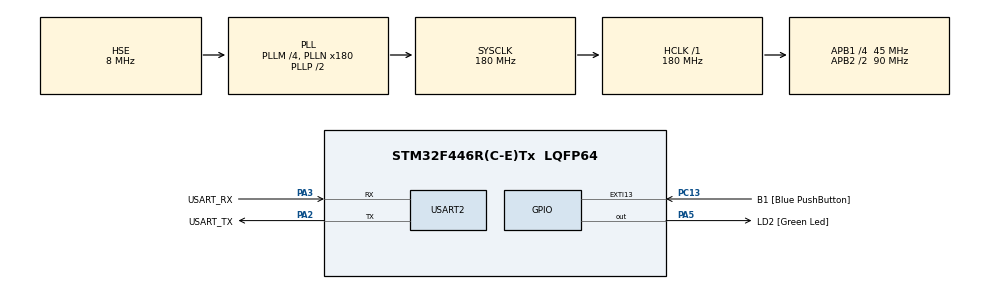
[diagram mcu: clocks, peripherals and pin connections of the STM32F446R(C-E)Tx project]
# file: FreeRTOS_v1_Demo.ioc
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Dma.Request0=USART2_TX
Dma.Request1=USART2_RX
Dma.USART2_RX.1.Direction=DMA_PERIPH_TO_MEMORY
Dma.USART2_RX.1.FIFOMode=DMA_FIFOMODE_DISABLE
Dma.USART2_RX.1.Instance=DMA1_Stream5
Dma.USART2_RX.1.MemDataAlignment=DMA_MDATAALIGN_BYTE
Dma.USART2_RX.1.MemInc=DMA_MINC_ENABLE
Dma.USART2_RX.1.Mode=DMA_NORMAL
Dma.USART2_RX.1.PeriphDataAlignment=DMA_PDATAALIGN_BYTE
Dma.USART2_RX.1.PeriphInc=DMA_PINC_DISABLE
Dma.USART2_RX.1.Priority=DMA_PRIORITY_LOW
Dma.USART2_TX.0.Direction=DMA_MEMORY_TO_PERIPH
Dma.USART2_TX.0.FIFOMode=DMA_FIFOMODE_DISABLE
Dma.USART2_TX.0.Instance=DMA1_Stream6
Dma.USART2_TX.0.MemDataAlignment=DMA_MDATAALIGN_BYTE
Dma.USART2_TX.0.MemInc=DMA_MINC_ENABLE
Dma.USART2_TX.0.Mode=DMA_NORMAL
Dma.USART2_TX.0.PeriphDataAlignment=DMA_PDATAALIGN_BYTE
Dma.USART2_TX.0.PeriphInc=DMA_PINC_DISABLE
Dma.USART2_TX.0.Priority=DMA_PRIORITY_LOW
FREERTOS.Tasks01=defaultTask,0,128,StartDefaultTask,Default,NULL,Dynamic,NULL,NULL
FREERTOS.configUSE_NEWLIB_REENTRANT=0
Mcu.Family=STM32F4
Mcu.Name=STM32F446R(C-E)Tx
Mcu.Package=LQFP64
NVIC.DMA1_Stream5_IRQn=true\:5\:0\:false\:false\:true\:true\:false\:true\:true
NVIC.DMA1_Stream6_IRQn=true\:5\:0\:false\:false\:true\:true\:false\:true\:true
NVIC.EXTI15_10_IRQn=true\:5\:0\:false\:false\:true\:true\:true\:true\:true
NVIC.PriorityGroup=NVIC_PRIORITYGROUP_4
NVIC.TIM7_IRQn=true\:15\:0\:false\:false\:true\:false\:false\:true\:true
NVIC.TimeBase=TIM7_IRQn
NVIC.TimeBaseIP=TIM7
NVIC.USART2_IRQn=true\:5\:0\:false\:false\:true\:true\:true\:true\:true
PA13.GPIO_Label=TMS
PA13.Mode=Serial_Wire
PA13.Signal=SYS_JTMS-SWDIO
PA14.GPIO_Label=TCK
PA14.Mode=Serial_Wire
PA14.Signal=SYS_JTCK-SWCLK
PA2.GPIO_Label=USART_TX
PA2.Mode=Asynchronous
PA2.Signal=USART2_TX
PA3.GPIO_Label=USART_RX
PA3.Mode=Asynchronous
PA3.Signal=USART2_RX
PA5.GPIO_Label=LD2 [Green Led]
PA5.Signal=GPIO_Output
PB3.GPIO_Label=SWO
PB3.Signal=SYS_JTDO-SWO
PC13.GPIO_Label=B1 [Blue PushButton]
PC13.GPIO_ModeDefaultEXTI=GPIO_MODE_IT_FALLING
PC13.Signal=GPXTI13
PC14-OSC32_IN.Signal=RCC_OSC32_IN
PC15-OSC32_OUT.Signal=RCC_OSC32_OUT
PH0-OSC_IN.Mode=HSE-External-Oscillator
PH0-OSC_IN.Signal=RCC_OSC_IN
PH1-OSC_OUT.Mode=HSE-External-Oscillator
PH1-OSC_OUT.Signal=RCC_OSC_OUT
ProjectManager.HeapSize=0x200
ProjectManager.StackSize=0x400
ProjectManager.TargetToolchain=STM32CubeIDE
RCC.AHBFreq_Value=180000000
RCC.APB1CLKDivider=RCC_HCLK_DIV4
RCC.APB1Freq_Value=45000000
RCC.APB1TimFreq_Value=90000000
RCC.APB2CLKDivider=RCC_HCLK_DIV2
RCC.APB2Freq_Value=90000000
RCC.APB2TimFreq_Value=180000000
RCC.CortexFreq_Value=180000000
RCC.FLatency-AdvancedSettings=FLASH_LATENCY_5
RCC.HCLKFreq_Value=180000000
RCC.HSE_VALUE=8000000
RCC.HSI_VALUE=16000000
RCC.LSE_VALUE=32768
RCC.PLLM=4
RCC.PLLN=180
RCC.PLLSourceVirtual=RCC_PLLSOURCE_HSE
RCC.SYSCLKFreq_VALUE=180000000
RCC.SYSCLKSource=RCC_SYSCLKSOURCE_PLLCLK
RCC.USBFreq_Value=180000000
RCC.VCOOutputFreq_Value=360000000
USART2.VirtualMode=VM_ASYNC
VP_FREERTOS_VS_CMSIS_V1.Mode=CMSIS_V1
VP_SYS_VS_tim7.Mode=TIM7
board=NUCLEO-F446RE

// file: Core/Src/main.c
/* USER CODE BEGIN Header */
/**
  ******************************************************************************
  * @file           : main.c
  * @brief          : Main program body
  ******************************************************************************
  * @attention
  *
  * Copyright (c) 2025 STMicroelectronics.
  * All rights reserved.
  *
  * This software is licensed under terms that can be found in the LICENSE file
  * in the root directory of this software component.
  * If no LICENSE file comes with this software, it is provided AS-IS.
  *
  ******************************************************************************
  */
/* USER CODE END Header */
#include "main.h"
#include "cmsis_os.h"

/* USER CODE BEGIN Includes */
#include "uart_driver.h"
#include <string.h>
#include "sample_commands.h"
#include "command_module.h"
#include "logging.h"

/* USER CODE END Includes */

UART_HandleTypeDef huart2;
DMA_HandleTypeDef hdma_usart2_tx;
DMA_HandleTypeDef hdma_usart2_rx;

osThreadId defaultTaskHandle;
/* USER CODE BEGIN PV */
static uart_drv_t uart2_drv;  // UART driver instance for USART2
// Shared pointer used by sample_commands.c (declared extern in its header)
uart_drv_t *shared_uart = NULL;        // UART driver instance for USART2
static SemaphoreHandle_t rx_done_sem;
static void uart_evt_cb(uart_event_t evt, void *user_ctx);
static void log_test_task(void *pv);
static void telemetry_test_task(void *pv);

/* USER CODE END PV */

void SystemClock_Config(void);
static void MX_GPIO_Init(void);
static void MX_DMA_Init(void);
static void MX_USART2_UART_Init(void);
void StartDefaultTask(void const * argument);

/* USER CODE BEGIN 0 */
static void uart_sender_task(void *pv);
static void uart_receiver_task(void *pv);
static void uart_echo_task(void *pv);

/* USER CODE END 0 */

int main(void)
{

  /* MCU Configuration--------------------------------------------------------*/

  /* Reset of all peripherals, Initializes the Flash interface and the Systick. */
  HAL_Init();

  /* Configure the system clock */
  SystemClock_Config();

  /* Initialize all configured peripherals */
  MX_GPIO_Init();
  MX_DMA_Init();
  MX_USART2_UART_Init();

  /* USER CODE BEGIN RTOS_SEMAPHORES */
  /* add semaphores, ... */
  rx_done_sem = xSemaphoreCreateBinary();

  // Initialize the UART driver
  if (uart_init(&uart2_drv, &huart2, &hdma_usart2_tx, &hdma_usart2_rx) != UART_OK) {
      Error_Handler();
  }

  // Assign shared_uart so command handlers can use the UART driver
  shared_uart = &uart2_drv;

  // Initialize the command interpreter
  // This registers the UART callback, creates the RTOS queue & task
  cmd_init(&uart2_drv);

  log_init(&uart2_drv);

  /* USER CODE END RTOS_SEMAPHORES */

  /* Create the thread(s) */
  /* definition and creation of defaultTask */
//  osThreadDef(defaultTask, StartDefaultTask, osPriorityNormal, 0, 128);
//  defaultTaskHandle = osThreadCreate(osThread(defaultTask), NULL);

  /* USER CODE BEGIN RTOS_THREADS */
  /* add threads, ... */
//  xTaskCreate(uart_sender_task,  "UART_SND",  256, NULL, tskIDLE_PRIORITY+1, NULL);
//  xTaskCreate(uart_receiver_task,"UART_RCV",  256, NULL, tskIDLE_PRIORITY+1, NULL);
  xTaskCreate(uart_echo_task, "UART_ECHO", 256, NULL, tskIDLE_PRIORITY+1, NULL);

  xTaskCreate(log_test_task, "LogTest", 256, NULL, tskIDLE_PRIORITY+1, NULL);

  xTaskCreate(telemetry_test_task, "TlmTest", 256, NULL, tskIDLE_PRIORITY + 1, NULL);

  log_write(LOG_LEVEL_INFO, "System initialized.");

  /* USER CODE END RTOS_THREADS */

  /* Start scheduler */
//  osKernelStart();
  vTaskStartScheduler();

  /* We should never get here as control is now taken by the scheduler */

  /* Infinite loop */
  while (1)
  {

  }
}

void SystemClock_Config(void)
{
  RCC_OscInitTypeDef RCC_OscInitStruct = {0};
  RCC_ClkInitTypeDef RCC_ClkInitStruct = {0};

  /** Configure the main internal regulator output voltage
  */
  __HAL_RCC_PWR_CLK_ENABLE();
  __HAL_PWR_VOLTAGESCALING_CONFIG(PWR_REGULATOR_VOLTAGE_SCALE1);

  /** Initializes the RCC Oscillators according to the specified parameters
  * in the RCC_OscInitTypeDef structure.
  */
  RCC_OscInitStruct.OscillatorType = RCC_OSCILLATORTYPE_HSE;
  RCC_OscInitStruct.HSEState = RCC_HSE_ON;
  RCC_OscInitStruct.PLL.PLLState = RCC_PLL_ON;
  RCC_OscInitStruct.PLL.PLLSource = RCC_PLLSOURCE_HSE;
  RCC_OscInitStruct.PLL.PLLM = 4;
  RCC_OscInitStruct.PLL.PLLN = 180;
  RCC_OscInitStruct.PLL.PLLP = RCC_PLLP_DIV2;
  RCC_OscInitStruct.PLL.PLLQ = 2;
  RCC_OscInitStruct.PLL.PLLR = 2;
  if (HAL_RCC_OscConfig(&RCC_OscInitStruct) != HAL_OK)
  {
    Error_Handler();
  }

  /** Activate the Over-Drive mode
  */
  if (HAL_PWREx_EnableOverDrive() != HAL_OK)
  {
    Error_Handler();
  }

  /** Initializes the CPU, AHB and APB buses clocks
  */
  RCC_ClkInitStruct.ClockType = RCC_CLOCKTYPE_HCLK|RCC_CLOCKTYPE_SYSCLK
                              |RCC_CLOCKTYPE_PCLK1|RCC_CLOCKTYPE_PCLK2;
  RCC_ClkInitStruct.SYSCLKSource = RCC_SYSCLKSOURCE_PLLCLK;
  RCC_ClkInitStruct.AHBCLKDivider = RCC_SYSCLK_DIV1;
  RCC_ClkInitStruct.APB1CLKDivider = RCC_HCLK_DIV4;
  RCC_ClkInitStruct.APB2CLKDivider = RCC_HCLK_DIV2;

  if (HAL_RCC_ClockConfig(&RCC_ClkInitStruct, FLASH_LATENCY_5) != HAL_OK)
  {
    Error_Handler();
  }
}

static void MX_USART2_UART_Init(void)
{

  huart2.Instance = USART2;
  huart2.Init.BaudRate = 115200;
  huart2.Init.WordLength = UART_WORDLENGTH_8B;
  huart2.Init.StopBits = UART_STOPBITS_1;
  huart2.Init.Parity = UART_PARITY_NONE;
  huart2.Init.Mode = UART_MODE_TX_RX;
  huart2.Init.HwFlowCtl = UART_HWCONTROL_NONE;
  huart2.Init.OverSampling = UART_OVERSAMPLING_16;
  if (HAL_UART_Init(&huart2) != HAL_OK)
  {
    Error_Handler();
  }
  /* USER CODE BEGIN USART2_Init 2 */
	HAL_NVIC_SetPriority(USART2_IRQn, 5, 0);
	HAL_NVIC_EnableIRQ(USART2_IRQn);

  /* USER CODE END USART2_Init 2 */

}

static void MX_DMA_Init(void)
{

  /* DMA controller clock enable */
  __HAL_RCC_DMA1_CLK_ENABLE();

  /* DMA interrupt init */
  /* DMA1_Stream5_IRQn interrupt configuration */
  HAL_NVIC_SetPriority(DMA1_Stream5_IRQn, 5, 0);
  HAL_NVIC_EnableIRQ(DMA1_Stream5_IRQn);
  /* DMA1_Stream6_IRQn interrupt configuration */
  HAL_NVIC_SetPriority(DMA1_Stream6_IRQn, 5, 0);
  HAL_NVIC_EnableIRQ(DMA1_Stream6_IRQn);

}

static void MX_GPIO_Init(void)
{
  GPIO_InitTypeDef GPIO_InitStruct = {0};

  /* GPIO Ports Clock Enable */
  __HAL_RCC_GPIOC_CLK_ENABLE();
  __HAL_RCC_GPIOH_CLK_ENABLE();
  __HAL_RCC_GPIOA_CLK_ENABLE();
  __HAL_RCC_GPIOB_CLK_ENABLE();

  /*Configure GPIO pin Output Level */
  HAL_GPIO_WritePin(LD2_GPIO_Port, LD2_Pin, GPIO_PIN_RESET);

  /*Configure GPIO pin : B1_Pin */
  GPIO_InitStruct.Pin = B1_Pin;
  GPIO_InitStruct.Mode = GPIO_MODE_IT_FALLING;
  GPIO_InitStruct.Pull = GPIO_NOPULL;
  HAL_GPIO_Init(B1_GPIO_Port, &GPIO_InitStruct);

  /*Configure GPIO pin : LD2_Pin */
  GPIO_InitStruct.Pin = LD2_Pin;
  GPIO_InitStruct.Mode = GPIO_MODE_OUTPUT_PP;
  GPIO_InitStruct.Pull = GPIO_NOPULL;
  GPIO_InitStruct.Speed = GPIO_SPEED_FREQ_LOW;
  HAL_GPIO_Init(LD2_GPIO_Port, &GPIO_InitStruct);

  /* EXTI interrupt init*/
  HAL_NVIC_SetPriority(EXTI15_10_IRQn, 5, 0);
  HAL_NVIC_EnableIRQ(EXTI15_10_IRQn);

}

/* USER CODE BEGIN 4 */
static void uart_echo_task(void *pv)
{
    uint8_t c;
    for (;;) {
        // wait for exactly 1 byte
//        if (uart_receive_nb(&uart2_drv, &c, 1) == UART_OK) {
        if (uart_start_dma_rx(&uart2_drv, &c, 1) == UART_OK) {
            // block until that one byte arrives
            if (xSemaphoreTake(rx_done_sem, portMAX_DELAY) == pdTRUE) {
                // immediately echo it back
//                uart_send_nb(&uart2_drv, &c, 1);
            	uart_start_dma_tx(&uart2_drv, &c, 1);
            }
            log_write(LOG_LEVEL_INFO, "Test info");
              vTaskDelay(pdMS_TO_TICKS(500));
              log_write(LOG_LEVEL_WARN, "Test warn");
              vTaskDelay(pdMS_TO_TICKS(500));
              log_write(LOG_LEVEL_ERROR, "Test error");
        }
        // no vTaskDelay needed here – we re-arm as soon as we finish
    }
}

static void log_test_task(void *pv)
{
    vTaskDelay(pdMS_TO_TICKS(1000));  // Optional delay to wait for CLI ready
    log_write(LOG_LEVEL_INFO, "Test info");
    vTaskDelay(pdMS_TO_TICKS(1000));
    log_write(LOG_LEVEL_WARN, "Test warn");
    vTaskDelay(pdMS_TO_TICKS(1000));
    log_write(LOG_LEVEL_ERROR, "Test error");
    vTaskDelay(pdMS_TO_TICKS(1000));
    log_write(LOG_LEVEL_FATAL, "Test fatal");
    vTaskDelete(NULL);
}

static void telemetry_test_task(void *pv)
{
    TelemetryPacket pkt = {0};
    for (;;) {
        pkt.sensor1++;
        pkt.sensor2 = 3.14f * pkt.sensor1;

        telemetry_send(&pkt);

//        vTaskDelay(pdMS_TO_TICKS(2000));  // Every 2 seconds
    }
}

// UART event callback — called from ISR context
static void uart_evt_cb(uart_event_t evt, void *user_ctx)
{
    BaseType_t higher_woken = pdFALSE;
    if (evt == UART_EVT_RX_COMPLETE) {
        // give the semaphore to wake the RX task
        xSemaphoreGiveFromISR((SemaphoreHandle_t)user_ctx, &higher_woken);
    }
    // optionally handle TX_COMPLETE or ERROR events here …
    portYIELD_FROM_ISR(higher_woken);
}

//----------------------------------------------------------------
// Sender task — periodically transmit a message
static void uart_sender_task(void *pv)
{
    const char *msg = "Hello from FreeRTOS UART!\r\n";
    for (;;) {
        if (uart_send_nb(&uart2_drv, (uint8_t*)msg, strlen(msg)) == UART_OK) {
            // optionally wait for TX_COMPLETE event or just delay
        }
        vTaskDelay(pdMS_TO_TICKS(1000));
    }
}

//----------------------------------------------------------------
// Receiver task — issue a receive and then block until data arrives
#define RX_BUF_LEN  32
static void uart_receiver_task(void *pv)
{
    uint8_t rx_buf[RX_BUF_LEN];

    for (;;) {
        // kick off a non-blocking receive of up to RX_BUF_LEN bytes
        if (uart_receive_nb(&uart2_drv, rx_buf, RX_BUF_LEN) == UART_OK) {
            // wait until the callback gives us the semaphore
            if (xSemaphoreTake(rx_done_sem, portMAX_DELAY) == pdTRUE) {
                // rx_buf now contains RX_BUF_LEN bytes (or fewer if your app tracks count)
                // process your data here…
            }
        } else {
            // driver was busy; back off a bit
            vTaskDelay(pdMS_TO_TICKS(10));
        }
    }
}

/* USER CODE END 4 */

void StartDefaultTask(void const * argument)
{
  for(;;)
  {
    osDelay(1);
  }
}

void HAL_TIM_PeriodElapsedCallback(TIM_HandleTypeDef *htim)
{
  if (htim->Instance == TIM7)
  {
    HAL_IncTick();
  }
}

void Error_Handler(void)
{
  __disable_irq();
  while (1)
  {
  }
}
